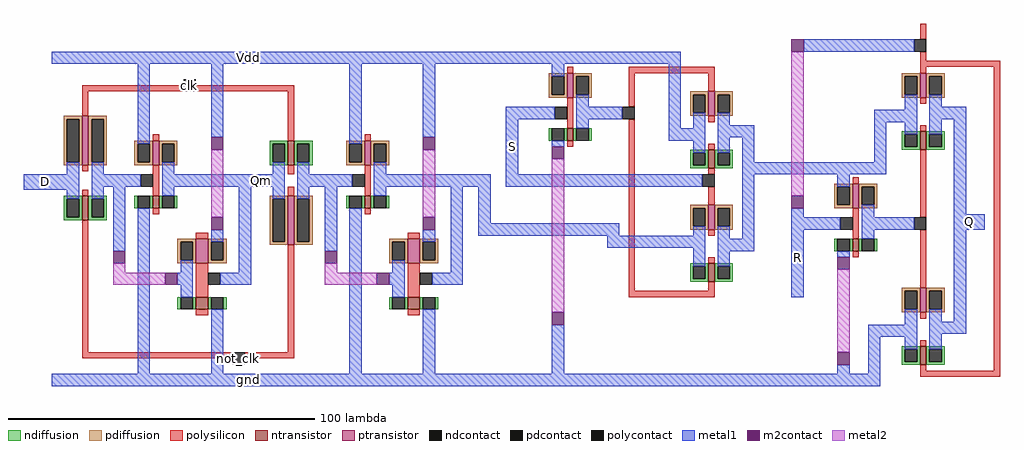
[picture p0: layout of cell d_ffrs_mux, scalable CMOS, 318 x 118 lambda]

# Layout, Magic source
magic
tech scmos
<< polysilicon >>
rect 267 39 269 44
rect 267 32 269 35
rect 267 30 293 32
rect 152 28 154 30
rect 172 28 200 30
rect 267 28 269 30
rect -6 22 27 24
rect 31 22 63 24
rect -6 14 -4 22
rect 17 6 19 8
rect 61 6 63 22
rect 152 10 154 20
rect 172 17 174 28
rect 198 22 200 28
rect 267 18 269 20
rect 86 6 88 8
rect 152 4 154 6
rect -6 -4 -4 -2
rect -6 -12 -4 -10
rect 17 -12 19 -2
rect 61 -5 63 -2
rect 61 -12 63 -9
rect 86 -12 88 -2
rect 17 -18 19 -16
rect -6 -63 -4 -20
rect 31 -26 35 -24
rect 86 -18 88 -16
rect 100 -26 104 -24
rect 31 -45 35 -34
rect 31 -51 35 -49
rect 61 -63 63 -28
rect 100 -45 104 -34
rect 172 -43 174 13
rect 198 12 200 14
rect 267 9 269 11
rect 198 3 200 5
rect 198 -5 200 -3
rect 245 -8 247 -6
rect 198 -15 200 -9
rect 198 -25 200 -23
rect 245 -26 247 -16
rect 267 -19 269 3
rect 245 -32 247 -30
rect 198 -34 200 -32
rect 198 -43 200 -40
rect 267 -42 269 -23
rect 172 -45 200 -43
rect 100 -51 104 -49
rect 267 -52 269 -50
rect 267 -61 269 -59
rect -6 -65 43 -63
rect 47 -65 63 -63
rect 267 -69 269 -67
rect 291 -69 293 30
rect 267 -71 293 -69
<< ndiffusion >>
rect 146 6 147 10
rect 151 6 152 10
rect 154 6 155 10
rect 159 6 160 10
rect 55 5 61 6
rect 55 -1 56 5
rect 60 -1 61 5
rect 55 -2 61 -1
rect 63 5 69 6
rect 63 -1 64 5
rect 68 -1 69 5
rect 63 -2 69 -1
rect -12 -13 -6 -12
rect -12 -19 -11 -13
rect -7 -19 -6 -13
rect -12 -20 -6 -19
rect -4 -13 2 -12
rect -4 -19 -3 -13
rect 1 -19 2 -13
rect 11 -16 12 -12
rect 16 -16 17 -12
rect 19 -16 20 -12
rect 24 -16 25 -12
rect -4 -20 2 -19
rect 80 -16 81 -12
rect 85 -16 86 -12
rect 88 -16 89 -12
rect 93 -16 94 -12
rect 25 -49 26 -45
rect 30 -49 31 -45
rect 35 -49 36 -45
rect 40 -49 41 -45
rect 261 8 267 9
rect 261 4 262 8
rect 266 4 267 8
rect 261 3 267 4
rect 269 8 275 9
rect 269 4 270 8
rect 274 4 275 8
rect 269 3 275 4
rect 192 2 198 3
rect 192 -2 193 2
rect 197 -2 198 2
rect 192 -3 198 -2
rect 200 2 206 3
rect 200 -2 201 2
rect 205 -2 206 2
rect 200 -3 206 -2
rect 239 -30 240 -26
rect 244 -30 245 -26
rect 247 -30 248 -26
rect 252 -30 253 -26
rect 192 -35 198 -34
rect 192 -39 193 -35
rect 197 -39 198 -35
rect 192 -40 198 -39
rect 200 -35 206 -34
rect 200 -39 201 -35
rect 205 -39 206 -35
rect 200 -40 206 -39
rect 94 -49 95 -45
rect 99 -49 100 -45
rect 104 -49 105 -45
rect 109 -49 110 -45
rect 261 -62 267 -61
rect 261 -66 262 -62
rect 266 -66 267 -62
rect 261 -67 267 -66
rect 269 -62 275 -61
rect 269 -66 270 -62
rect 274 -66 275 -62
rect 269 -67 275 -66
<< pdiffusion >>
rect 146 27 152 28
rect -12 13 -6 14
rect -12 -1 -11 13
rect -7 -1 -6 13
rect -12 -2 -6 -1
rect -4 13 2 14
rect -4 -1 -3 13
rect 1 -1 2 13
rect 146 21 147 27
rect 151 21 152 27
rect 146 20 152 21
rect 154 27 160 28
rect 154 21 155 27
rect 159 21 160 27
rect 154 20 160 21
rect 261 27 267 28
rect 192 21 198 22
rect 192 15 193 21
rect 197 15 198 21
rect 192 14 198 15
rect 200 21 206 22
rect 200 15 201 21
rect 205 15 206 21
rect 261 21 262 27
rect 266 21 267 27
rect 261 20 267 21
rect 269 27 275 28
rect 269 21 270 27
rect 274 21 275 27
rect 269 20 275 21
rect 200 14 206 15
rect -4 -2 2 -1
rect 11 5 17 6
rect 11 -1 12 5
rect 16 -1 17 5
rect 11 -2 17 -1
rect 19 5 25 6
rect 19 -1 20 5
rect 24 -1 25 5
rect 19 -2 25 -1
rect 80 5 86 6
rect 80 -1 81 5
rect 85 -1 86 5
rect 80 -2 86 -1
rect 88 5 94 6
rect 88 -1 89 5
rect 93 -1 94 5
rect 88 -2 94 -1
rect 55 -13 61 -12
rect 25 -27 31 -26
rect 25 -33 26 -27
rect 30 -33 31 -27
rect 25 -34 31 -33
rect 35 -27 41 -26
rect 35 -33 36 -27
rect 40 -33 41 -27
rect 55 -27 56 -13
rect 60 -27 61 -13
rect 55 -28 61 -27
rect 63 -13 69 -12
rect 63 -27 64 -13
rect 68 -27 69 -13
rect 63 -28 69 -27
rect 94 -27 100 -26
rect 35 -34 41 -33
rect 94 -33 95 -27
rect 99 -33 100 -27
rect 94 -34 100 -33
rect 104 -27 110 -26
rect 104 -33 105 -27
rect 109 -33 110 -27
rect 104 -34 110 -33
rect 239 -9 245 -8
rect 239 -15 240 -9
rect 244 -15 245 -9
rect 192 -16 198 -15
rect 192 -22 193 -16
rect 197 -22 198 -16
rect 192 -23 198 -22
rect 200 -16 206 -15
rect 239 -16 245 -15
rect 247 -9 253 -8
rect 247 -15 248 -9
rect 252 -15 253 -9
rect 247 -16 253 -15
rect 200 -22 201 -16
rect 205 -22 206 -16
rect 200 -23 206 -22
rect 261 -43 267 -42
rect 261 -49 262 -43
rect 266 -49 267 -43
rect 261 -50 267 -49
rect 269 -43 275 -42
rect 269 -49 270 -43
rect 274 -49 275 -43
rect 269 -50 275 -49
<< metal1 >>
rect 229 35 265 39
rect -16 31 189 35
rect -11 -5 -7 -1
rect -25 -10 -7 -5
rect -11 -13 -7 -10
rect 12 5 16 31
rect 36 7 40 31
rect 81 5 85 31
rect 105 7 109 31
rect 147 27 151 31
rect 155 17 159 21
rect -3 -5 1 -1
rect 20 -5 24 -1
rect 56 -5 60 -1
rect -3 -9 13 -5
rect 20 -9 60 -5
rect -3 -13 1 -9
rect 4 -30 8 -9
rect 20 -12 24 -9
rect 12 -70 16 -16
rect 36 -27 40 -23
rect 26 -37 30 -33
rect 45 -37 49 -9
rect 56 -13 60 -9
rect 132 13 148 17
rect 155 13 170 17
rect 64 -5 68 -1
rect 89 -5 93 -1
rect 132 -5 136 13
rect 155 10 159 13
rect 185 10 189 31
rect 193 10 197 15
rect 185 6 197 10
rect 147 4 151 6
rect 193 2 197 6
rect 262 16 266 21
rect 201 11 205 15
rect 252 12 266 16
rect 201 7 213 11
rect 201 2 205 7
rect 209 -1 213 7
rect 252 -1 256 12
rect 262 8 266 12
rect 270 17 274 21
rect 270 13 282 17
rect 270 8 274 13
rect 209 -5 256 -1
rect 64 -9 82 -5
rect 89 -9 127 -5
rect 132 -9 196 -5
rect 64 -13 68 -9
rect 73 -30 77 -9
rect 89 -12 93 -9
rect 25 -41 30 -37
rect 39 -41 49 -37
rect 26 -45 30 -41
rect 36 -70 40 -49
rect 81 -70 85 -16
rect 105 -27 109 -23
rect 95 -37 99 -33
rect 114 -37 118 -9
rect 123 -21 127 -9
rect 123 -25 169 -21
rect 193 -25 197 -22
rect 165 -29 197 -25
rect 94 -41 99 -37
rect 108 -41 118 -37
rect 193 -35 197 -29
rect 201 -26 205 -22
rect 209 -26 213 -5
rect 240 -9 244 -5
rect 201 -30 213 -26
rect 225 -19 229 -16
rect 248 -19 252 -15
rect 278 -18 282 13
rect 225 -23 241 -19
rect 248 -23 265 -19
rect 278 -23 288 -18
rect 201 -35 205 -30
rect 95 -45 99 -41
rect 225 -45 229 -23
rect 248 -26 252 -23
rect 240 -32 244 -30
rect 105 -70 109 -49
rect 262 -54 266 -49
rect 147 -70 151 -54
rect 250 -58 266 -54
rect 240 -70 244 -67
rect 250 -70 254 -58
rect 262 -62 266 -58
rect 270 -53 274 -49
rect 278 -53 282 -23
rect 270 -57 282 -53
rect 270 -62 274 -57
rect -16 -74 254 -70
<< metal2 >>
rect 36 -19 40 3
rect 105 -19 109 3
rect 4 -37 8 -34
rect 73 -37 77 -34
rect 4 -41 21 -37
rect 73 -41 90 -37
rect 147 -50 151 0
rect 225 -12 229 35
rect 240 -63 244 -36
<< ntransistor >>
rect 152 6 154 10
rect 61 -2 63 6
rect -6 -20 -4 -12
rect 17 -16 19 -12
rect 86 -16 88 -12
rect 31 -49 35 -45
rect 267 3 269 9
rect 198 -3 200 3
rect 245 -30 247 -26
rect 198 -40 200 -34
rect 100 -49 104 -45
rect 267 -67 269 -61
<< ptransistor >>
rect -6 -2 -4 14
rect 152 20 154 28
rect 198 14 200 22
rect 267 20 269 28
rect 17 -2 19 6
rect 86 -2 88 6
rect 31 -34 35 -26
rect 61 -28 63 -12
rect 100 -34 104 -26
rect 198 -23 200 -15
rect 245 -16 247 -8
rect 267 -50 269 -42
<< polycontact >>
rect 265 35 269 39
rect 27 22 31 26
rect 148 13 152 17
rect 170 13 174 17
rect 13 -9 17 -5
rect 82 -9 86 -5
rect 35 -41 39 -37
rect 104 -41 108 -37
rect 196 -9 200 -5
rect 241 -23 245 -19
rect 265 -23 269 -19
rect 43 -67 47 -63
<< ndcontact >>
rect 147 6 151 10
rect 155 6 159 10
rect 56 -1 60 5
rect 64 -1 68 5
rect -11 -19 -7 -13
rect -3 -19 1 -13
rect 12 -16 16 -12
rect 20 -16 24 -12
rect 81 -16 85 -12
rect 89 -16 93 -12
rect 26 -49 30 -45
rect 36 -49 40 -45
rect 262 4 266 8
rect 270 4 274 8
rect 193 -2 197 2
rect 201 -2 205 2
rect 240 -30 244 -26
rect 248 -30 252 -26
rect 193 -39 197 -35
rect 201 -39 205 -35
rect 95 -49 99 -45
rect 105 -49 109 -45
rect 262 -66 266 -62
rect 270 -66 274 -62
<< pdcontact >>
rect -11 -1 -7 13
rect -3 -1 1 13
rect 147 21 151 27
rect 155 21 159 27
rect 193 15 197 21
rect 201 15 205 21
rect 262 21 266 27
rect 270 21 274 27
rect 12 -1 16 5
rect 20 -1 24 5
rect 81 -1 85 5
rect 89 -1 93 5
rect 26 -33 30 -27
rect 36 -33 40 -27
rect 56 -27 60 -13
rect 64 -27 68 -13
rect 95 -33 99 -27
rect 105 -33 109 -27
rect 240 -15 244 -9
rect 193 -22 197 -16
rect 248 -15 252 -9
rect 201 -22 205 -16
rect 262 -49 266 -43
rect 270 -49 274 -43
<< m2contact >>
rect 225 35 229 39
rect 36 3 40 7
rect 4 -34 8 -30
rect 36 -23 40 -19
rect 105 3 109 7
rect 147 0 151 4
rect 73 -34 77 -30
rect 21 -41 25 -37
rect 105 -23 109 -19
rect 90 -41 94 -37
rect 225 -16 229 -12
rect 240 -36 244 -32
rect 147 -54 151 -50
rect 240 -67 244 -63
<< labels >>
rlabel polycontact 27 22 31 26 0 clk
rlabel metal1 49 -9 56 -5 0 Qm
rlabel polycontact 43 -67 47 -63 0 not_clk
rlabel metal1 -13 -74 109 -70 0 gnd
rlabel metal1 -13 31 109 35 0 Vdd
rlabel metal1 -25 -10 -11 -5 0 D
rlabel metal1 132 -9 136 17 0 S
rlabel metal1 225 -45 229 -19 0 R
rlabel metal1 278 -23 288 -18 0 Q
<< end >>
